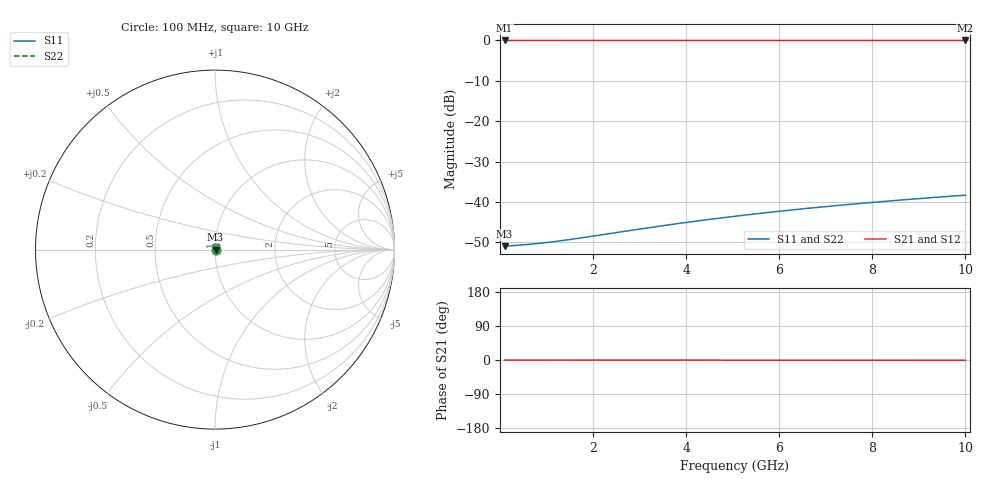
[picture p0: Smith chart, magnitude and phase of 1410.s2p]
# Hz S RI R 50.00
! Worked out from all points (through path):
!   100 points, 100 MHz to 10 GHz, reference 50 ohm
!   highest |S21| = -0.02 dB at 100 MHz (marker M1); lowest = 0.0 dB at 10 GHz (marker M2)
!   lowest |S11| = -50.9 dB at 100 MHz (marker M3), VSWR 1.01, Z = 50.3 + j0.0118 ohm
!   |S11| at or under -10 dB: start of sweep to end of sweep
!   |S22| runs from -50.9 to -38.3 dB; largest |S21 - S12| = 0
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1e8  0.00284 0.000117  0.9972 -0.000157  0.9972 -0.000157  0.00284 0.000117
5e8  0.00289 0.000586  0.9971 -0.000784  0.9971 -0.000784  0.00289 0.000586
7e8  0.00291 0.00082  0.9971 -0.0011  0.9971 -0.0011  0.00291 0.00082
9e8  0.00292 0.00105  0.9971 -0.00141  0.9971 -0.00141  0.00292 0.00105
1.1e9  0.00293 0.00129  0.9971 -0.00173  0.9971 -0.00173  0.00293 0.00129
1.3e9  0.00294 0.00152  0.9971 -0.00204  0.9971 -0.00204  0.00294 0.00152
1.5e9  0.00295 0.00176  0.997 -0.00235  0.997 -0.00235  0.00295 0.00176
1.8e9  0.00297 0.00211  0.997 -0.00282  0.997 -0.00282  0.00297 0.00211
2.9e9  0.00301 0.0034  0.997 -0.00455  0.997 -0.00455  0.00301 0.0034
3.4e9  0.00302 0.00398  0.997 -0.00533  0.997 -0.00533  0.00302 0.00398
3.9e9  0.00304 0.00457  0.997 -0.00612  0.997 -0.00612  0.00304 0.00457
4.3e9  0.00305 0.00503  0.9969 -0.00674  0.9969 -0.00674  0.00305 0.00503
4.7e9  0.00307 0.0055  0.9969 -0.00737  0.9969 -0.00737  0.00307 0.0055
5.1e9  0.00308 0.00597  0.9969 -0.008  0.9969 -0.008  0.00308 0.00597
5.5e9  0.00309 0.00644  0.9969 -0.00863  0.9969 -0.00863  0.00309 0.00644
5.9e9  0.00311 0.00691  0.9969 -0.00925  0.9969 -0.00925  0.00311 0.00691
6.3e9  0.00312 0.00738  0.9969 -0.00988  0.9969 -0.00988  0.00312 0.00738
6.7e9  0.00314 0.00784  0.9969 -0.0105  0.9969 -0.0105  0.00314 0.00784
7.5e9  0.00317 0.00878  0.9968 -0.0118  0.9968 -0.0118  0.00317 0.00878
8.4e9  0.00321 0.00983  0.9968 -0.0132  0.9968 -0.0132  0.00321 0.00983
9.2e9  0.00324 0.0108  0.9967 -0.0144  0.9967 -0.0144  0.00324 0.0108
1e10  0.00328 0.0117  0.9967 -0.0157  0.9967 -0.0157  0.00328 0.0117
